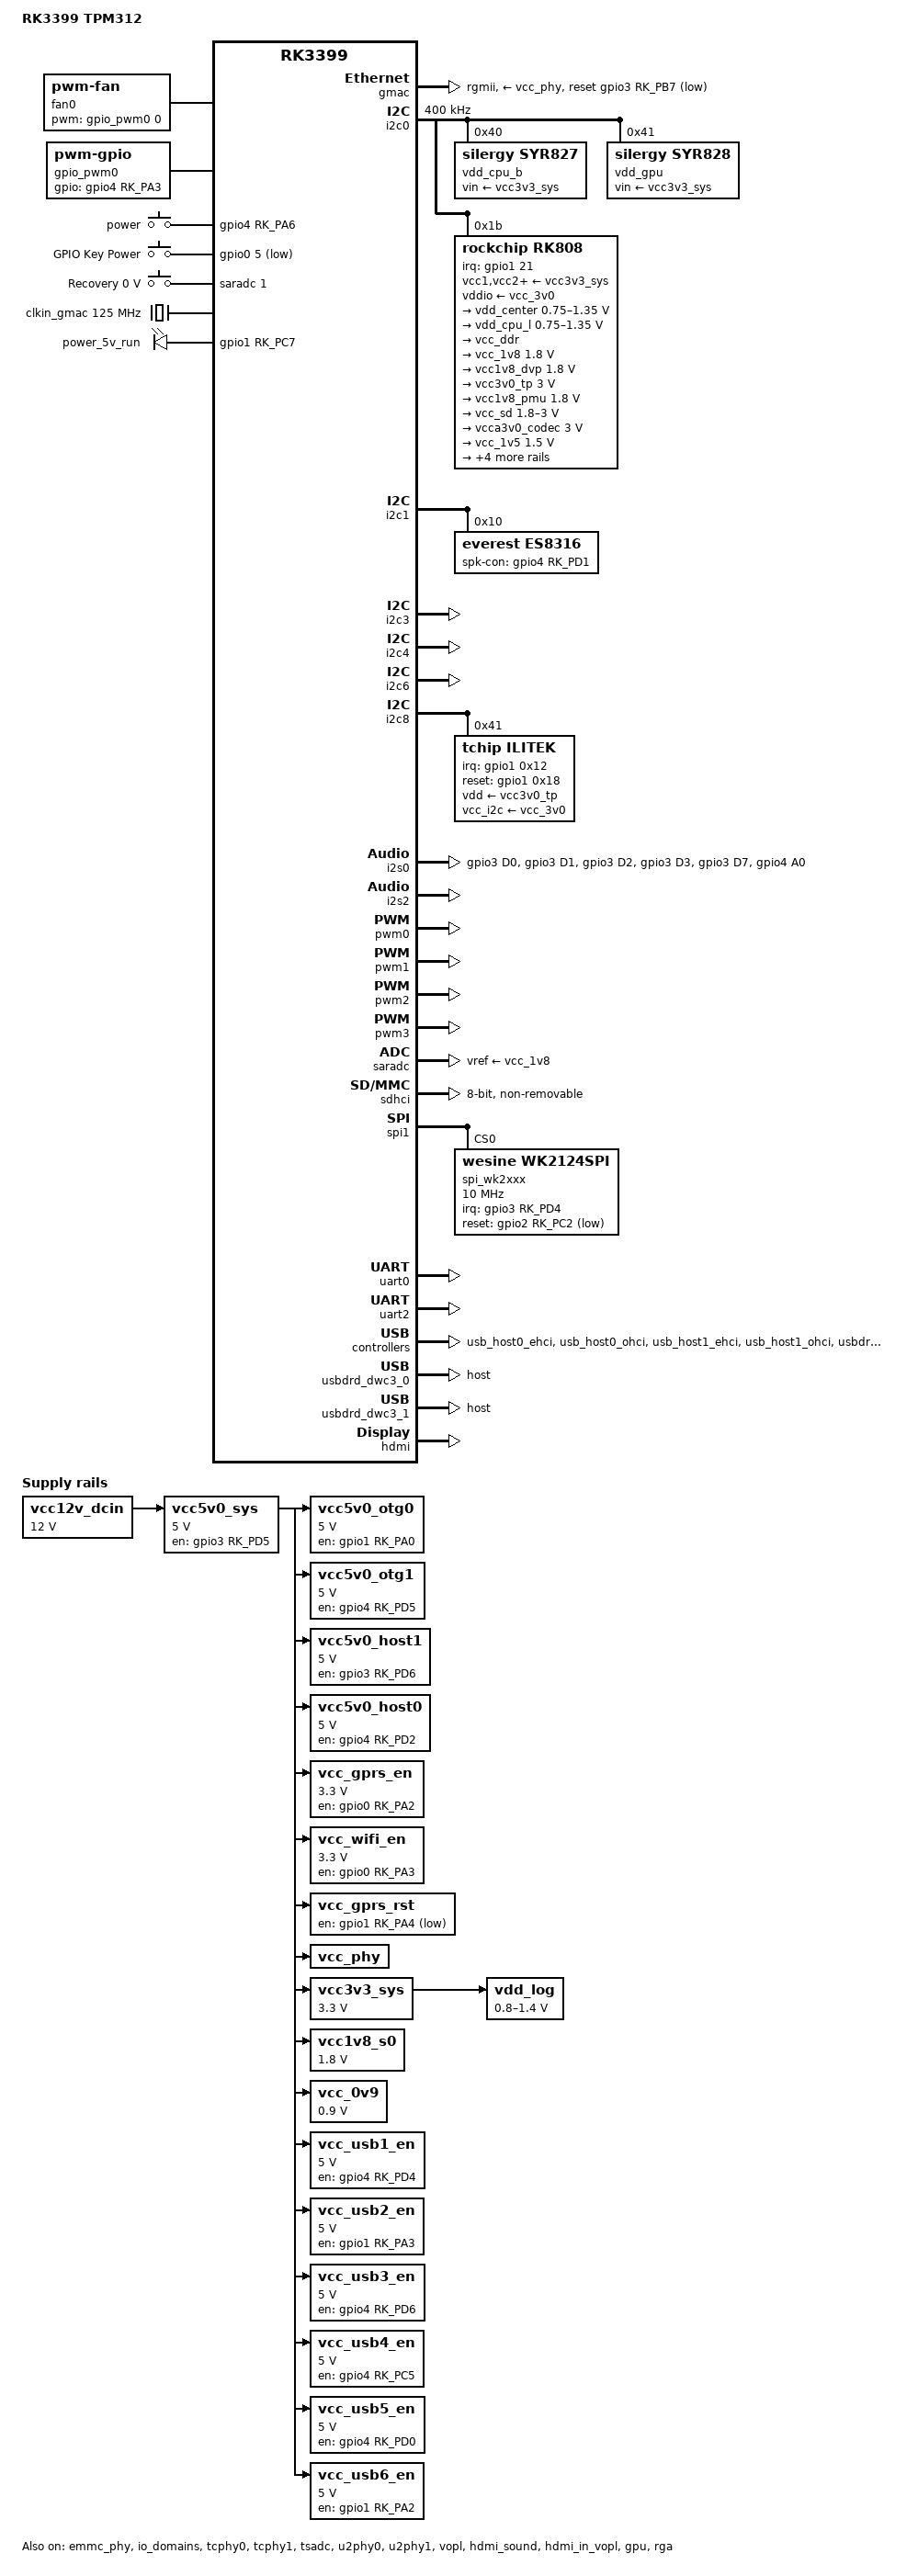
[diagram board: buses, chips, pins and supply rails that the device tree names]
// SPDX-License-Identifier: (GPL-2.0+ OR MIT)

/dts-v1/;
#include <dt-bindings/pwm/pwm.h>
#include <dt-bindings/input/input.h>
#include <dt-bindings/interrupt-controller/irq.h>
#include "rk3399.dtsi"
#include "rk3399-opp.dtsi"

/ {
	model = "RK3399 TPM312";
	compatible = "rk3399,tpm312", "rockchip,rk3399";

	aliases {
		ethernet0 = &gmac;
		mmc0 = &sdhci;
	};

	chosen {
		bootargs = "earlycon=uart8250,mmio32,0xff1a0000 swiotlb=1 coherent_pool=1m";
		stdout-path = "serial2:1500000n8";
	};

	fan0: pwm-fan {
		compatible = "pwm-fan";
		cooling-levels = <0 63 79 95 111 127 159 191 223 255>;
		#cooling-cells = <2>;
		cooling-min-state = <0>;
		cooling-max-state = <9>;
		//PWM_POLARITY_NORMAL PWM_POLARITY_INVERTED
		pwms = <&gpio_pwm0 0 128000 0>;
		status = "okay";
	};

	gpio_pwm0: pwm-gpio {
		compatible = "pwm-gpio";
		#pwm-cells = <3>;
		pinctrl-names = "default";
		pinctrl-0 = <&gpio_pwm0_pin>;
		gpios = <&gpio4 RK_PA3 GPIO_ACTIVE_HIGH>;
     };

	gpio_keys: gpio-keys {
		compatible = "gpio-keys";
		#address-cells = <1>;
		#size-cells = <0>;
		pinctrl-names = "default";
		pinctrl-0 = <&pwm_button1 &pwrbtn>;
		//autorepeat;
		power-key {
			gpios = <&gpio4 RK_PA6 GPIO_ACTIVE_HIGH>;
			linux,code = <KEY_POWER>;
			label = "power";
			gpio-key,wakeup;
			wakeup-source;
		};

		power {
			debounce-interval = <100>;
			gpios = <&gpio0 5 GPIO_ACTIVE_LOW>;
			label = "GPIO Key Power";
			linux,code = <KEY_POWER>;
			gpio-key,wakeup;
			wakeup-source;
		};
	};

	adc_keys: adc-keys {
		compatible = "adc-keys";
		io-channels = <&saradc 1>;
		io-channel-names = "buttons";
		keyup-threshold-microvolt = <1750000>;
		poll-interval = <100>;

		recovery {
			label = "Recovery";
			linux,code = <KEY_VENDOR>;
			press-threshold-microvolt = <0>;
		};
	};

	gpio_keys: gpio-keys {
			compatible = "gpio-keys";
			autorepeat;
			pinctrl-names = "default";
			pinctrl-0 = <&pwrbtn>;

			power {
					debounce-interval = <100>;
					gpios = <&gpio0 5 GPIO_ACTIVE_LOW>;
					label = "GPIO Key Power";
					linux,code = <KEY_POWER>;
					wakeup-source;
			};
	};

	fiq_debugger: fiq-debugger {
		compatible = "rockchip,fiq-debugger";
		rockchip,serial-id = <2>;
		rockchip,wake-irq = <0>;
		rockchip,irq-mode-enable = <1>;  /* If enable uart uses irq instead of fiq */
		rockchip,baudrate = <1500000>;  /* Only 115200 and 1500000 */
		pinctrl-names = "default";
		pinctrl-0 = <&uart2c_xfer>;
		interrupts = <GIC_SPI 150 IRQ_TYPE_LEVEL_HIGH 0>;
	};

	clkin_gmac: external-gmac-clock {
		compatible = "fixed-clock";
		clock-frequency = <125000000>;
		clock-output-names = "clkin_gmac";
		#clock-cells = <0>;
	};

	vcc5v0_otg0: vcc5v0-otg0-regulator {
		pinctrl-0 = <&otg0_vbus_drv>;
		gpio = <&gpio1 RK_PA0 GPIO_ACTIVE_HIGH>;
		regulator-name = "vcc5v0_otg0";
		enable-active-high;
		compatible = "regulator-fixed";
		pinctrl-names = "default";
		regulator-always-on;
		regulator-min-microvolt = <5000000>;
		regulator-max-microvolt = <5000000>;
		vin-supply = <&vcc5v0_sys>;
	};

	vcc5v0_otg1: vcc5v0-otg1-regulator {
		pinctrl-0 = <&otg1_vbus_drv>;
		gpio = <&gpio4 RK_PD5 GPIO_ACTIVE_HIGH>;
		regulator-name = "vcc5v0_otg1";
		enable-active-high;
		compatible = "regulator-fixed";
		pinctrl-names = "default";
		regulator-always-on;
		regulator-min-microvolt = <5000000>;
		regulator-max-microvolt = <5000000>;
		vin-supply = <&vcc5v0_sys>;
	};

	vcc5v0_host1: vcc5v0-host1-regulator {
		pinctrl-0 = <&host1_vbus_drv>;
		gpio = <&gpio3 RK_PD6 GPIO_ACTIVE_HIGH>;
		regulator-name = "vcc5v0_host1";
		enable-active-high;
		compatible = "regulator-fixed";
		pinctrl-names = "default";
		regulator-always-on;
		regulator-min-microvolt = <5000000>;
		regulator-max-microvolt = <5000000>;
		vin-supply = <&vcc5v0_sys>;
	};

	vcc5v0_host0: vcc5v0-host0-regulator {
		pinctrl-0 = <&host0_vbus_drv>;
		gpio = <&gpio4 RK_PD2 GPIO_ACTIVE_HIGH>;
		regulator-name = "vcc5v0_host0";
		enable-active-high;
		compatible = "regulator-fixed";
		pinctrl-names = "default";
		regulator-always-on;
		regulator-min-microvolt = <5000000>;
		regulator-max-microvolt = <5000000>;
		vin-supply = <&vcc5v0_sys>;
	};

	vcc5v0_sys: vcc-sys {
		compatible = "regulator-fixed";
		enable-active-high;
		pinctrl-names = "default";
		pinctrl-0 = <&vcc5v0_sys_pin>;
		gpio = <&gpio3 RK_PD5 GPIO_ACTIVE_HIGH>;
		regulator-name = "vcc5v0_sys";
		regulator-min-microvolt = <5000000>;
		regulator-max-microvolt = <5000000>;
		regulator-always-on;
		regulator-boot-on;
		vin-supply = <&vcc12v_dcin>;
	};

	vcc_gprs_en: vcc-gprs-en {
		regulator-boot-on;
		pinctrl-0 = <&gprs_en_pin>;
		gpio = <&gpio0 RK_PA2 GPIO_ACTIVE_HIGH>;
		regulator-name = "vcc_gprs_en";
		enable-active-high;
		compatible = "regulator-fixed";
		pinctrl-names = "default";
		regulator-always-on;
		regulator-min-microvolt = <3300000>;
		regulator-max-microvolt = <3300000>;
		vin-supply = <&vcc5v0_sys>;
	};

	vcc_wifi_en: vcc-wifi-en {
		pinctrl-0 = <&wifi_en_pin>;
		gpio = <&gpio0 RK_PA3 GPIO_ACTIVE_HIGH>;
		regulator-name = "vcc_wifi_en";
		enable-active-high;
		compatible = "regulator-fixed";
		pinctrl-names = "default";
		regulator-always-on;
		regulator-boot-on;
		regulator-min-microvolt = <3300000>;
		regulator-max-microvolt = <3300000>;
		vin-supply = <&vcc5v0_sys>;
	};


	vcc_gprs_rst: vcc-gprs-rst {
		regulator-boot-on;
		pinctrl-0 = <&gprs_rst_pin>;
		gpio = <&gpio1 RK_PA4 GPIO_ACTIVE_LOW>;
		regulator-name = "vcc_gprs_rst";
		enable-active-low;
		compatible = "regulator-fixed";
		pinctrl-names = "default";
		regulator-always-on;
		vin-supply = <&vcc5v0_sys>;
	};

/**
	vcc_wk2_rst: vcc-wk2-rst {
		regulator-boot-on;
		pinctrl-0 = <&wk2_rst_pin>;
		gpio = <&gpio2 RK_PC2 GPIO_ACTIVE_LOW>;
		regulator-name = "vcc_wk2_rst";
		enable-active-low;
		compatible = "regulator-fixed";
		pinctrl-names = "default";
		regulator-always-on;
		vin-supply = <&vcc3v3_sys>;
	};
*/
    leds: leds {
		compatible = "gpio-leds";
        pinctrl-names = "default";
		pinctrl-0 = <&leds_pins>;
		power5v_led: power5v-led {
	        gpios = <&gpio1 RK_PC7 GPIO_ACTIVE_HIGH>;
			default-state = "on";
			label = "power_5v_run";
		};
	};


//REPLACE  dc_5v
	vcc12v_dcin: dc-12v {
		compatible = "regulator-fixed";
		regulator-name = "vcc12v_dcin";
		regulator-always-on;
		regulator-boot-on;
		regulator-min-microvolt = <12000000>;
		regulator-max-microvolt = <12000000>;
	};

	vcc_phy: vcc-phy-regulator {
		compatible = "regulator-fixed";
		regulator-name = "vcc_phy";
		regulator-always-on;
		regulator-boot-on;
		vin-supply = <&vcc5v0_sys>;
	};


	vcc3v3_sys: vcc3v3-sys {
		compatible = "regulator-fixed";
		regulator-name = "vcc3v3_sys";
		regulator-min-microvolt = <3300000>;
		regulator-max-microvolt = <3300000>;
		regulator-always-on;
		regulator-boot-on;
		vin-supply = <&vcc5v0_sys>;
	};

	vcc1v8_s0: vcc1v8-s0 {
		compatible = "regulator-fixed";
		regulator-name = "vcc1v8_s0";
		regulator-min-microvolt = <1800000>;
		regulator-max-microvolt = <1800000>;
		regulator-always-on;
		vin-supply = <&vcc5v0_sys>;
	};

	vcc_0v9: vcc-0v9 {
		compatible = "regulator-fixed";
		regulator-name = "vcc_0v9";
		regulator-always-on;
		regulator-boot-on;
		regulator-min-microvolt = <900000>;
		regulator-max-microvolt = <900000>;
		vin-supply = <&vcc5v0_sys>;
	};

	vcc_usb1_en: vcc-usb1-en {
		compatible = "regulator-fixed";
		enable-active-high;
		gpio = <&gpio4 RK_PD4 GPIO_ACTIVE_HIGH>;
		pinctrl-names = "default";
		pinctrl-0 = <&usb1_en_pin>;
		regulator-name = "vcc_usb1_en";
		regulator-always-on;
		regulator-boot-on;
		regulator-min-microvolt = <5000000>;
		regulator-max-microvolt = <5000000>;
		vin-supply = <&vcc5v0_sys>;
	};

	vcc_usb2_en: vcc-usb2-en {
		compatible = "regulator-fixed";
		enable-active-high;
		gpio = <&gpio1 RK_PA3 GPIO_ACTIVE_HIGH>;
		pinctrl-names = "default";
		pinctrl-0 = <&usb2_en_pin>;
		regulator-name = "vcc_usb2_en";
		regulator-always-on;
		regulator-boot-on;
		regulator-min-microvolt = <5000000>;
		regulator-max-microvolt = <5000000>;
		vin-supply = <&vcc5v0_sys>;
	};

	vcc_usb3_en: vcc-usb3-en {
		compatible = "regulator-fixed";
		enable-active-high;
		gpio = <&gpio4 RK_PD6 GPIO_ACTIVE_HIGH>;
		pinctrl-names = "default";
		pinctrl-0 = <&usb3_en_pin>;
		regulator-name = "vcc_usb3_en";
		regulator-always-on;
		regulator-boot-on;
		regulator-min-microvolt = <5000000>;
		regulator-max-microvolt = <5000000>;
		vin-supply = <&vcc5v0_sys>;
	};

	vcc_usb4_en: vcc-usb4-en {
		compatible = "regulator-fixed";
		enable-active-high;
		gpio = <&gpio4 RK_PC5 GPIO_ACTIVE_HIGH>;
		pinctrl-names = "default";
		pinctrl-0 = <&usb4_en_pin>;
		regulator-name = "vcc_usb4_en";
		regulator-always-on;
		regulator-boot-on;
		regulator-min-microvolt = <5000000>;
		regulator-max-microvolt = <5000000>;
		vin-supply = <&vcc5v0_sys>;
	};

	vcc_usb5_en: vcc-usb5-en {
		compatible = "regulator-fixed";
		enable-active-high;
		gpio = <&gpio4 RK_PD0 GPIO_ACTIVE_HIGH>;
		pinctrl-names = "default";
		pinctrl-0 = <&usb5_en_pin>;
		regulator-name = "vcc_usb5_en";
		regulator-always-on;
		regulator-boot-on;
		regulator-min-microvolt = <5000000>;
		regulator-max-microvolt = <5000000>;
		vin-supply = <&vcc5v0_sys>;
	};

	vcc_usb6_en: vcc-usb6-en {
		compatible = "regulator-fixed";
		enable-active-high;
		gpio = <&gpio1 RK_PA2 GPIO_ACTIVE_HIGH>;
		pinctrl-names = "default";
		pinctrl-0 = <&usb6_en_pin>;
		regulator-name = "vcc_usb6_en";
		regulator-always-on;
		regulator-boot-on;
		regulator-min-microvolt = <5000000>;
		regulator-max-microvolt = <5000000>;
		vin-supply = <&vcc5v0_sys>;
	};


	vdd_log: vdd-log {
		compatible = "pwm-regulator";
		pwms = <&pwm3 0 25000 1>;
		rockchip,pwm_voltage = <950000>;
		pwm-supply = <&vcc3v3_sys>;
		regulator-name = "vdd_log";
		regulator-min-microvolt = <800000>;
		regulator-max-microvolt = <1400000>;
		regulator-init-microvolt = <950000>;
		regulator-always-on;
		regulator-boot-on;
	};

	es8316_sound: sound {
		compatible = "simple-audio-card";
		simple-audio-card,name = "rockchip,es8316-codec";
		simple-audio-card,format = "i2s";
		simple-audio-card,mclk-fs = <256>;
		simple-audio-card,widgets =
			"Microphone", "Mic Jack",
			"Headphone", "Headphones";
		simple-audio-card,routing =
			//"Mic Jack", "Bias",
			//"MIC1", "Mic Jack",
			"Headphones", "HPOL",
			"Headphones", "HPOR";

		simple-audio-card,cpu {
			sound-dai = <&i2s0>;
		};

		simple-audio-card,codec {
			sound-dai = <&es8316>;
		};
	};



};

&cpu_l0 {
	cpu-supply = <&vdd_cpu_l>;
};

&cpu_l1 {
	cpu-supply = <&vdd_cpu_l>;
};

&cpu_l2 {
	cpu-supply = <&vdd_cpu_l>;
};

&cpu_l3 {
	cpu-supply = <&vdd_cpu_l>;
};

&cpu_b0 {
	cpu-supply = <&vdd_cpu_b>;
};

&cpu_b1 {
	cpu-supply = <&vdd_cpu_b>;
};

&emmc_phy {
	status = "okay";
};

&gmac {
	assigned-clocks = <&cru SCLK_RMII_SRC>;
	assigned-clock-parents = <&clkin_gmac>;
	clock_in_out = "input";
	phy-supply = <&vcc_phy>;
	phy-mode = "rgmii";
	pinctrl-names = "default";
	pinctrl-0 = <&rgmii_pins>;
	snps,reset-gpio = <&gpio3 RK_PB7 GPIO_ACTIVE_LOW>;
	snps,reset-active-low;
	keep-power-in-suspend;
	snps,reset-delays-us = <0 10000 50000>;
	tx_delay = <0x28>;
	rx_delay = <0x11>;
	status = "okay";
};


&i2c0 {
	status = "okay";
	i2c-scl-rising-time-ns = <168>;
	i2c-scl-falling-time-ns = <4>;
	clock-frequency = <400000>;

	vdd_cpu_b: syr827@40 {
		compatible = "silergy,syr827";
		reg = <0x40>;
		regulator-compatible = "fan53555-reg";
		pinctrl-0 = <&vsel1_pin>;
		regulator-name = "vdd_cpu_b";
		regulator-min-microvolt = <712500>;
		regulator-max-microvolt = <1500000>;
		regulator-ramp-delay = <1000>;
		fcs,suspend-voltage-selector = <1>;
		regulator-always-on;
		regulator-boot-on;
		vin-supply = <&vcc3v3_sys>;
		regulator-state-mem {
			regulator-off-in-suspend;
		};
	};

	vdd_gpu: syr828@41 {
		compatible = "silergy,syr828";
		reg = <0x41>;
		regulator-compatible = "fan53555-reg";
		pinctrl-0 = <&vsel2_pin>;
		regulator-name = "vdd_gpu";
		regulator-min-microvolt = <712500>;
		regulator-max-microvolt = <1500000>;
		regulator-ramp-delay = <1000>;
		fcs,suspend-voltage-selector = <1>;
		regulator-always-on;
		regulator-boot-on;
		vin-supply = <&vcc3v3_sys>;
		regulator-initial-mode = <1>;
		regulator-state-mem {
			regulator-off-in-suspend;
		};
	};

	rk808: pmic@1b {
		compatible = "rockchip,rk808";
		reg = <0x1b>;
		interrupt-parent = <&gpio1>;
		interrupts = <21 IRQ_TYPE_LEVEL_LOW>;
		pinctrl-names = "default";
		pinctrl-0 = <&pmic_int_l &pmic_dvs2>;
		rockchip,system-power-controller;
		wakeup-source;
		#clock-cells = <1>;
		clock-output-names = "xin32k", "rk808-clkout2";

		vcc1-supply = <&vcc3v3_sys>;
		vcc2-supply = <&vcc3v3_sys>;
		vcc3-supply = <&vcc3v3_sys>;
		vcc4-supply = <&vcc3v3_sys>;
		vcc6-supply = <&vcc3v3_sys>;
		vcc7-supply = <&vcc3v3_sys>;
		vcc8-supply = <&vcc3v3_sys>;
		vcc9-supply = <&vcc3v3_sys>;
		vcc10-supply = <&vcc3v3_sys>;
		vcc11-supply = <&vcc3v3_sys>;
		vcc12-supply = <&vcc3v3_sys>;
		vddio-supply = <&vcc_3v0>;

		regulators {
			vdd_center: DCDC_REG1 {
				regulator-name = "vdd_center";
				regulator-min-microvolt = <750000>;
				regulator-max-microvolt = <1350000>;
				regulator-ramp-delay = <6001>;
				regulator-always-on;
				regulator-boot-on;
				regulator-state-mem {
					regulator-off-in-suspend;
				};
			};

			vdd_cpu_l: DCDC_REG2 {
				regulator-name = "vdd_cpu_l";
				regulator-min-microvolt = <750000>;
				regulator-max-microvolt = <1350000>;
				regulator-ramp-delay = <6001>;
				regulator-always-on;
				regulator-boot-on;
				regulator-state-mem {
					regulator-off-in-suspend;
				};
			};

			vcc_ddr: DCDC_REG3 {
				regulator-name = "vcc_ddr";
				regulator-always-on;
				regulator-boot-on;
				regulator-state-mem {
					regulator-on-in-suspend;
				};
			};

			vcc_1v8: DCDC_REG4 {
				regulator-name = "vcc_1v8";
				regulator-min-microvolt = <1800000>;
				regulator-max-microvolt = <1800000>;
				regulator-always-on;
				regulator-boot-on;
				regulator-state-mem {
					regulator-on-in-suspend;
					regulator-suspend-microvolt = <1800000>;
				};
			};

			vcc1v8_dvp: LDO_REG1 {
				regulator-name = "vcc1v8_dvp";
				regulator-min-microvolt = <1800000>;
				regulator-max-microvolt = <1800000>;
				regulator-always-on;
				regulator-boot-on;
				regulator-state-mem {
					regulator-on-in-suspend;
				};
			};

			vcc3v0_tp: LDO_REG2 {
				regulator-name = "vcc3v0_tp";
				regulator-min-microvolt = <3000000>;
				regulator-max-microvolt = <3000000>;
				regulator-always-on;
				regulator-boot-on;
				regulator-state-mem {
					regulator-off-in-suspend;
				};
			};

			vcc1v8_pmu: LDO_REG3 {
				regulator-name = "vcc1v8_pmu";
				regulator-min-microvolt = <1800000>;
				regulator-max-microvolt = <1800000>;
				regulator-always-on;
				regulator-boot-on;
				regulator-state-mem {
					regulator-on-in-suspend;
					regulator-suspend-microvolt = <1800000>;
				};
			};

			vcc_sd: LDO_REG4 {
				regulator-name = "vcc_sd";
				regulator-min-microvolt = <1800000>;
				regulator-max-microvolt = <3000000>;
				regulator-always-on;
				regulator-boot-on;
				regulator-state-mem {
					regulator-on-in-suspend;
					regulator-suspend-microvolt = <3000000>;
				};
			};

			vcca3v0_codec: LDO_REG5 {
				regulator-name = "vcca3v0_codec";
				regulator-min-microvolt = <3000000>;
				regulator-max-microvolt = <3000000>;
				regulator-always-on;
				regulator-boot-on;
				regulator-state-mem {
					regulator-off-in-suspend;
				};
			};

			vcc_1v5: LDO_REG6 {
				regulator-name = "vcc_1v5";
				regulator-min-microvolt = <1500000>;
				regulator-max-microvolt = <1500000>;
				regulator-always-on;
				regulator-boot-on;
				regulator-state-mem {
					regulator-on-in-suspend;
					regulator-suspend-microvolt = <1500000>;
				};
			};

			vcca1v8_codec: LDO_REG7 {
				regulator-name = "vcca1v8_codec";
				regulator-min-microvolt = <1800000>;
				regulator-max-microvolt = <1800000>;
				regulator-always-on;
				regulator-boot-on;
				regulator-state-mem {
					regulator-off-in-suspend;
				};
			};

			vcc_3v0: LDO_REG8 {
				regulator-name = "vcc_3v0";
				regulator-min-microvolt = <3000000>;
				regulator-max-microvolt = <3000000>;
				regulator-always-on;
				regulator-boot-on;
				regulator-state-mem {
					regulator-on-in-suspend;
					regulator-suspend-microvolt = <3000000>;
				};
			};

			vcc3v3_s3: SWITCH_REG1 {
				regulator-name = "vcc3v3_s3";
				regulator-always-on;
				regulator-boot-on;
				regulator-state-mem {
					regulator-off-in-suspend;
				};
			};

			vcc3v3_s0: SWITCH_REG2 {
				regulator-name = "vcc3v3_s0";
				regulator-always-on;
				regulator-boot-on;
				regulator-state-mem {
					regulator-off-in-suspend;
				};
			};
		};
        rtc {
            rkrtc: rk808-rtc {
                status="okay";
            };
        };
	};
};

&i2c1 {
	i2c-scl-rising-time-ns = <300>;
	i2c-scl-falling-time-ns = <15>;
	status = "okay";
   
    es8316: codec@10 {
        compatible = "everest,es8316";
        reg = <0x10>;
        clocks = <&cru SCLK_I2S_8CH_OUT>;
        clock-names = "mclk";
        #sound-dai-cells = <0>;
//      pinctrl-names = "default";
//		pinctrl-0 = <&i2s_8ch_mclk>;
       spk-con-gpio = <&gpio4 RK_PD1 GPIO_ACTIVE_HIGH>;
    };
};


&i2c3 {
	i2c-scl-rising-time-ns = <450>;
	i2c-scl-falling-time-ns = <15>;
	status = "okay";
};

&i2c4 {
    i2c-scl-rising-time-ns = <600>;
    i2c-scl-falling-time-ns = <20>;
    status = "okay";
    mpu6500@68 {
        status = "disabled";
        compatible = "invensense,mpu6500";
        reg = <0x68>;
        irq-gpio = <&gpio1 0x16 0x01>;
        mpu-int_config = <0x10>;
        mpu-level_shifter = <0x00>;
        mpu-orientation = <0x00 0x01 0x00 0x01 0x00 0x00 0x00 0x00 0x01>;
        orientation-x = <0x01>;
        orientation-y = <0x00>;
        orientation-z = <0x00>;
        mpu-debug = <0x01>;
    };

};

&i2c6 {
    status = "okay";
};

&i2c8 {
    status = "okay";  
    ilitek@41 {
        compatible = "tchip,ilitek";
        reg = <0x41>;
        vdd-supply = <&vcc3v0_tp>;
        vcc_i2c-supply = <&vcc_3v0>;
        ilitek,irq-gpio = <&gpio1 0x12 0x00>;
        ilitek,reset-gpio = <&gpio1 0x18 0x00>;
        ilitek,vbus = "vcc_i2c";
        ilitek,vdd = "vdd";
        ilitek,name = "ilitek_i2c";
    };
};

&i2s0 {
	rockchip,playback-channels = <2>;
	rockchip,capture-channels = <2>;
	status = "okay";
	pinctrl-0 = <&i2s0_2ch_bus>;
	pinctrl-1 = <&i2s0_2ch_bus_bclk_off>;
	pinctrl-names = "bclk_on","bclk_off";
};

&i2s2{
    status = "okay";
};

&io_domains {
	status = "okay";
	audio-supply = <&vcca1v8_codec>;
	bt656-supply = <&vcc1v8_dvp>;
	gpio1830-supply = <&vcc_3v0>;
	sdmmc-supply = <&vcc_sd>;
};

&pmu_io_domains {
	status = "okay";
	pmu1830-supply = <&vcc_3v0>;
};

&pinctrl {

	pmic {
		vcc5v0_sys_pin: vcc5v0-sys-pin {
				rockchip,pins = <3 RK_PD5 RK_FUNC_GPIO &pcfg_pull_down>;
		};

		pmic_int_l: pmic-int-l {
			rockchip,pins =
				<1 RK_PC6 RK_FUNC_GPIO &pcfg_pull_up>;
		};

		pmic_dvs2: pmic-dvs2 {
			rockchip,pins =
				<1 RK_PA5 RK_FUNC_GPIO &pcfg_pull_down>;
		};

		vsel1_pin: vsel1-pin {
			rockchip,pins =
				<1 RK_PC1 RK_FUNC_GPIO &pcfg_pull_down>;
		};

		vsel2_pin: vsel2-pin {
			rockchip,pins =
				<1 RK_PB6 RK_FUNC_GPIO &pcfg_pull_down>;
		};	
	};

	u2phy0 {
		otg0_vbus_drv: otg0-vbus-drv {
			rockchip,pins = <1 RK_PA0 RK_FUNC_GPIO &pcfg_pull_none>;
		};
		host0_vbus_drv: host0-vbus-drv {
			rockchip,pins = <4 RK_PD2 RK_FUNC_GPIO &pcfg_pull_none>;
		};
	};

	u2phy1 {
		otg1_vbus_drv: otg1-vbus-drv {
			rockchip,pins = <4 RK_PD5 RK_FUNC_GPIO &pcfg_pull_none>;
		};
		host1_vbus_drv: host1-vbus-drv {
			rockchip,pins = <3 RK_PD6 RK_FUNC_GPIO &pcfg_pull_none>;
		};
	};

	usbext {
		//gpio_hog replace to regulator-fixed
		//from https://github.com/unifreq/linux-6.6.y/commit/70864f7076abaed3c3b9957c8b4f91eb9f8dc086
		usb1_en_pin: usb1-en-pin {
			rockchip,pins = <4 RK_PD4 RK_FUNC_GPIO &pcfg_pull_none>;
		};
		usb2_en_pin: usb2-en-pin {
			rockchip,pins = <1 RK_PA3 RK_FUNC_GPIO &pcfg_pull_none>;
		};
		usb3_en_pin: usb3-en-pin {
			rockchip,pins = <4 RK_PD6 RK_FUNC_GPIO &pcfg_pull_none>;
		};
		usb4_en_pin: usb4-en-pin {
			rockchip,pins = <4 RK_PC5 RK_FUNC_GPIO &pcfg_pull_none>;
		};
		usb5_en_pin: usb5-en-pin {
			rockchip,pins = <4 RK_PD0 RK_FUNC_GPIO &pcfg_pull_none>;
		};
		usb6_en_pin: usb6-en-pin {
			rockchip,pins = <1 RK_PA2 RK_FUNC_GPIO &pcfg_pull_none>;
		};
	};


	wifi {
		wifi_en_pin: wifi-en-pin {
			rockchip,pins = <0 RK_PA3 RK_FUNC_GPIO &pcfg_pull_none>;
		};
	};
	gprs {
		gprs_en_pin: gprs-en-pin {
			rockchip,pins = <0 RK_PA2 RK_FUNC_GPIO &pcfg_pull_none>;
		};		
		gprs_rst_pin:gprs-rst-pin {
            rockchip,pins = <1 RK_PA4 RK_FUNC_GPIO &pcfg_pull_none>;
        };
	};


	wk2 {
	    wk2_irq_pin:wk2-irq-pin {
            rockchip,pins = <3 RK_PD4 RK_FUNC_GPIO &pcfg_pull_up>;
        };
		wk2_rst_pin:wk2-rst-pin {
            rockchip,pins = <2 RK_PC2 RK_FUNC_GPIO &pcfg_pull_none>;
        };
	};


	uart1 {
		uart1_xfer: uart1-xfer {
			rockchip,pins =
			    <3 RK_PC3 2 &pcfg_pull_up>,
			    <3 RK_PC4 2 &pcfg_pull_none>;
		};
	};

	leds {
		leds_pins: leds-pins {
			rockchip,pins = <1 RK_PC7 RK_FUNC_GPIO &pcfg_pull_up>;
		};
	};
	
	emmc {
		emmc-pwr {
			rockchip,pins = <0 RK_PA5 1 &pcfg_pull_up>;
		};
	}; 

	/*
	sound-ctl {
		spk_ctl: spk-ctl {
			rockchip,pins = <4 RK_PD1 RK_FUNC_GPIO &pcfg_pull_none>; 
		};
	};
	*/

	i2s0 {
		i2s0_2ch_bus: i2s0-2ch-bus {
			rockchip,pins =
				<3 RK_PD0 1 &pcfg_pull_none>,
				<3 RK_PD1 1 &pcfg_pull_none>,
				<3 RK_PD2 1 &pcfg_pull_none>,
				<3 RK_PD3 1 &pcfg_pull_none>,
				<3 RK_PD7 1 &pcfg_pull_none>,
				<4 RK_PA0 1 &pcfg_pull_none>;
		};

		i2s0_2ch_bus_bclk_off: i2s0-2ch-bus-bclk-off {
			rockchip,pins =
				<3 RK_PD0 RK_FUNC_GPIO &pcfg_pull_none>,
				<3 RK_PD1 1 &pcfg_pull_none>,
				<3 RK_PD2 1 &pcfg_pull_none>,
				<3 RK_PD3 1 &pcfg_pull_none>,
				<3 RK_PD7 1 &pcfg_pull_none>,
				<4 RK_PA0 1 &pcfg_pull_none>;
		};
//		i2s_8ch_mclk: i2s-8ch-mclk {
//			rockchip,pins = <4 RK_PA0 1 &pcfg_pull_none>;
//		};
	};

	gpio-pwms{
	    gpio_pwm0_pin: gpio-pwm-pin{
			rockchip,pins = <4 RK_PA3 RK_FUNC_GPIO &pcfg_pull_none>;
	    };
	};

	gpio-buttons{
		pwrbtn: pwrbtn {
			rockchip,pins = <0 RK_PA5 RK_FUNC_GPIO &pcfg_pull_up>;
		};
	    pwm_button1: pwm-button1{
			rockchip,pins = <4 RK_PA5 RK_FUNC_GPIO &pcfg_pull_up>;
	    };
	};
};
&power {
	power-domain@RK3399_PD_PERIHP {
				reg = <RK3399_PD_PERIHP>;
				clocks = <&cru ACLK_PERIHP>;
				#power-domain-cells = <0>;
				pm_qos = <&qos_perihp &qos_pcie &qos_usb_host0 &qos_usb_host1>;
			};
};

&pwm0 {
	status = "okay";
};

&pwm1 {
	status = "okay";
};

&pwm2 {
	status = "okay";
};

&pwm3 {
	status = "okay";
};

&saradc {
	status = "okay";
};

&sdmmc {
	clock-frequency = <150000000>;
	max-frequency = <150000000>;
	supports-sd;
	bus-width = <4>;
	cap-mmc-highspeed;
	cap-sd-highspeed;
	disable-wp;
	vqmmc-supply = <&vcc_sd>;
	pinctrl-names = "default";
	pinctrl-0 = <&sdmmc_clk &sdmmc_cmd &sdmmc_cd &sdmmc_bus4>;
	card-detect-delay = <800>;
	status = "disabled";
};

&sdhci {
	bus-width = <8>;
	mmc-hs400-1_8v;
	mmc-hs400-enhanced-strobe;
	supports-emmc;
	non-removable;
	keep-power-in-suspend;
	status = "okay";
};

&spi1 {
	status = "okay";
	max-freq = <48000000>;
	dev-port = <0>;
    spi_wk2xxx@0 {
        status = "okay";
        compatible = "wesine,wk2124spi","wkmic,wk2124_spi";
        reg = <0>;
        spi-max-frequency = <10000000>;
        poll_mode = <0>;
        type = <0>;
        enable_dma = <0>;
        irq-gpio = <&gpio3 RK_PD4 IRQ_TYPE_LEVEL_HIGH>;
		reset-gpio = <&gpio2 RK_PC2 GPIO_ACTIVE_LOW>;
		//cs-gpios = <&gpio1 RK_PB2 GPIO_ACTIVE_LOW>;
        pinctrl-names = "default";
        pinctrl-0 = <&wk2_irq_pin &wk2_rst_pin>;
    };
};

&tcphy0 {
	status = "okay";
};

&tcphy1 {
	status = "okay";
};

&tsadc {
	rockchip,hw-tshut-mode = <1>;
	rockchip,hw-tshut-polarity = <1>;
	status = "okay";
};

&u2phy0 {
	status = "okay";
	power-domains = <&power RK3399_PD_PERIHP>;
	u2phy0_otg: otg-port {
		phy-supply = <&vcc5v0_otg0>;
		status = "okay";
	};

	u2phy0_host: host-port {
		phy-supply = <&vcc5v0_host0>;
		status = "okay";
	};
};

&u2phy1 {
	status = "okay";
	power-domains = <&power RK3399_PD_PERIHP>;
	u2phy1_otg: otg-port {
		phy-supply = <&vcc5v0_otg1>;
		status = "okay";
	};

	u2phy1_host: host-port {
		phy-supply = <&vcc5v0_host1>;
		status = "okay";
	};
};

&uart0 {
	status = "okay";
};

&uart2 {
	status = "okay";
};

&usb_host0_ehci {
	power-domains = <&power RK3399_PD_PERIHP>;
	status = "okay";
};

&usb_host0_ohci {
	power-domains = <&power RK3399_PD_PERIHP>;
	status = "okay";
};

&usb_host1_ehci {
	power-domains = <&power RK3399_PD_PERIHP>;
	status = "okay";
};

&usb_host1_ohci {
	power-domains = <&power RK3399_PD_PERIHP>;
	status = "okay";
};

&usbdrd3_0 {
	status = "okay";
};

&usbdrd_dwc3_0 {
	dr_mode = "host";
	status = "okay";
};

&usbdrd3_1 {
	status = "okay";
};

&usbdrd_dwc3_1 {
	dr_mode = "host";
	status = "okay";
};

&vopb {
    status = "disabled";
    rockchip,grf = <&grf>;
};

&vopl {
    status = "okay";
    rockchip,grf = <&grf>;
};

&vopb_mmu {
    status = "disabled";
};

&vopl_mmu {
    status = "okay";
};

&hdmi {
    status = "okay";
    pinctrl-names = "default";
    ddc-i2c-bus = <&i2c3>;
    pinctrl-0 = <&hdmi_cec>;
	avdd-0v9-supply = <&vcc1v8_s0>;
	avdd-1v8-supply = <&vcc_0v9>;
};
&hdmi_sound {
    status = "okay";
};
&hdmi_in_vopb{
    status = "disabled";
};
&hdmi_in_vopl{
    status = "okay";
};
&gpu{
	mali-supply = <&vdd_gpu>;
    power-off-delay-ms = <200>;
    status = "okay";
};
&saradc {
	status = "okay";
	vref-supply = <&vcc_1v8>;
};

&rga {
	compatible = "rockchip,rk3399-rga","rockchip,rga2";
	status = "okay";
	dev_mode = <1>;
	dma-coherent;
};


&cpu_thermal {
        trips {
                cpu_warm: cpu_warm {
                        temperature = <60000>;
                        hysteresis = <2000>;
                        type = "active";
						status = "okay";
                };

                cpu_hot: cpu_hot {
                        temperature = <75000>;
                        hysteresis = <2000>;
                        type = "active";
						status = "okay";
                };
        };

        cooling-maps {
                map3 {
                        trip = <&cpu_warm>;
                        cooling-device = <&fan0 1 5>;
						status = "okay";
                };

                map4 {
                        trip = <&cpu_hot>;
                        cooling-device = <&fan0 6 9>;
						status = "okay";
                };
        };
};
